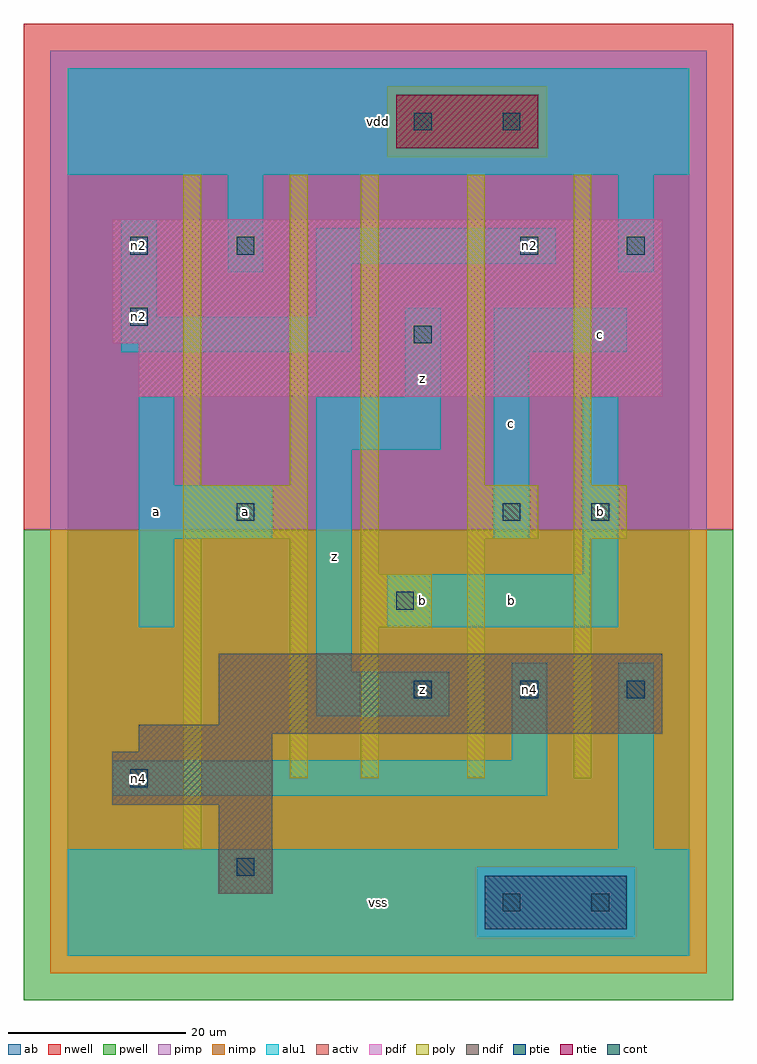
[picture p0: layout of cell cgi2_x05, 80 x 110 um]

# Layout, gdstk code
import gdstk
lib = gdstk.Library(unit=1e-6, precision=1e-09)
def R(c, l, rs):  # rectangles x0, y0, x1, y1
    for r in rs: c.add(gdstk.rectangle(r[:2], r[2:], *l))
def A(c, l, x, y, w, h, nx, ny, dx, dy):  # array of equal rectangles
    R(c, l, [(x+i*dx, y+j*dy, x+i*dx+w, y+j*dy+h) for i in range(nx) for j in range(ny)])
ndif = (3, 0)
pdif = (4, 0)
ntie = (5, 0)
ptie = (6, 0)
cont = (25, 0)
pwell = (41, 0)
nwell = (42, 0)
activ = (43, 0)
pimp = (44, 0)
nimp = (45, 0)
poly = (46, 0)
alu1 = (49, 0)
ab = (63, 0)

cgi2_x05 = lib.new_cell('cgi2_x05')
R(cgi2_x05, ndif, [(17,7,23,17), (5,17,23,23), (8,23,23,25), (8,25,67,26), (17,26,67,34)])
R(cgi2_x05, pdif, [(8,63,67,69), (5,69,67,83)])
R(cgi2_x05, ntie, [(37,91,53,97)])
R(cgi2_x05, ptie, [(47,3,63,9)])
A(cgi2_x05, cont, 49, 5, 2, 2, 1, 3, 0, 44)
A(cgi2_x05, cont, 39, 29, 2, 2, 3, 1, 12, 0)
R(cgi2_x05, cont, [(59,5,61,7), (19,9,21,11), (7,19,9,21), (37,39,39,41), (19,49,21,51), (59,49,61,51), (39,69,41,71), (7,71,9,73), (7,79,9,81), (19,79,21,81), (51,79,53,81), (63,79,65,81), (39,93,41,95)])
R(cgi2_x05, pwell, [(-5,-5,75,48)])
R(cgi2_x05, nwell, [(-5,48,75,105)])
R(cgi2_x05, activ, [(47,3,63,9), (17,7,23,17), (5,17,23,23), (8,23,23,25), (8,25,67,26), (17,26,67,34), (8,63,67,69), (5,69,67,83), (37,91,53,97)])
R(cgi2_x05, pimp, [(46,2,64,10), (-2,48,72,90), (-2,90,36,98), (54,90,72,98), (-2,98,72,102)])
R(cgi2_x05, nimp, [(-2,-2,72,2), (-2,2,46,10), (64,2,72,10), (-2,10,72,48), (36,90,54,98)])
R(cgi2_x05, poly, [(13,12,15,47), (25,20,27,47), (33,20,35,37), (45,20,47,47), (57,20,59,47), (33,37,41,43), (33,43,35,88), (13,47,27,53), (45,47,53,53), (57,47,63,53), (13,53,15,88), (25,53,27,88), (45,53,47,88), (57,53,59,88)])
R(cgi2_x05, alu1, [(0,0,70,12), (62,12,66,33), (5,18,54,22), (50,22,54,33), (28,27,43,32), (28,32,32,57), (8,37,12,47), (36,37,62,43), (58,43,62,63), (8,47,23,53), (48,47,52,68), (8,53,12,63), (28,57,42,63), (38,63,42,73), (6,68,32,72), (48,68,63,73), (6,72,10,83), (28,72,32,78), (18,77,22,88), (62,77,66,88), (28,78,55,82), (0,88,70,100)])
R(cgi2_x05, ab, [(0,0,70,100)])
cgi2_x05.add(gdstk.Label('n4', (8,20), layer=49, texttype=0))
cgi2_x05.add(gdstk.Label('n2', (8,80), layer=49, texttype=0))
cgi2_x05.add(gdstk.Label('n2', (8,72), layer=49, texttype=0))
cgi2_x05.add(gdstk.Label('n4', (52,30), layer=49, texttype=0))
cgi2_x05.add(gdstk.Label('n2', (52,80), layer=49, texttype=0))
cgi2_x05.add(gdstk.Label('a', (10,50), layer=49, texttype=0))
cgi2_x05.add(gdstk.Label('z', (30,45), layer=49, texttype=0))
cgi2_x05.add(gdstk.Label('a', (20,50), layer=49, texttype=0))
cgi2_x05.add(gdstk.Label('vss', (35,6), layer=49, texttype=0))
cgi2_x05.add(gdstk.Label('b', (40,40), layer=49, texttype=0))
cgi2_x05.add(gdstk.Label('b', (50,40), layer=49, texttype=0))
cgi2_x05.add(gdstk.Label('z', (40,30), layer=49, texttype=0))
cgi2_x05.add(gdstk.Label('z', (40,65), layer=49, texttype=0))
cgi2_x05.add(gdstk.Label('c', (50,60), layer=49, texttype=0))
cgi2_x05.add(gdstk.Label('vdd', (35,94), layer=49, texttype=0))
cgi2_x05.add(gdstk.Label('b', (60,50), layer=49, texttype=0))
cgi2_x05.add(gdstk.Label('c', (60,70), layer=49, texttype=0))

lib.write_gds('cgi2_x05.gds')
